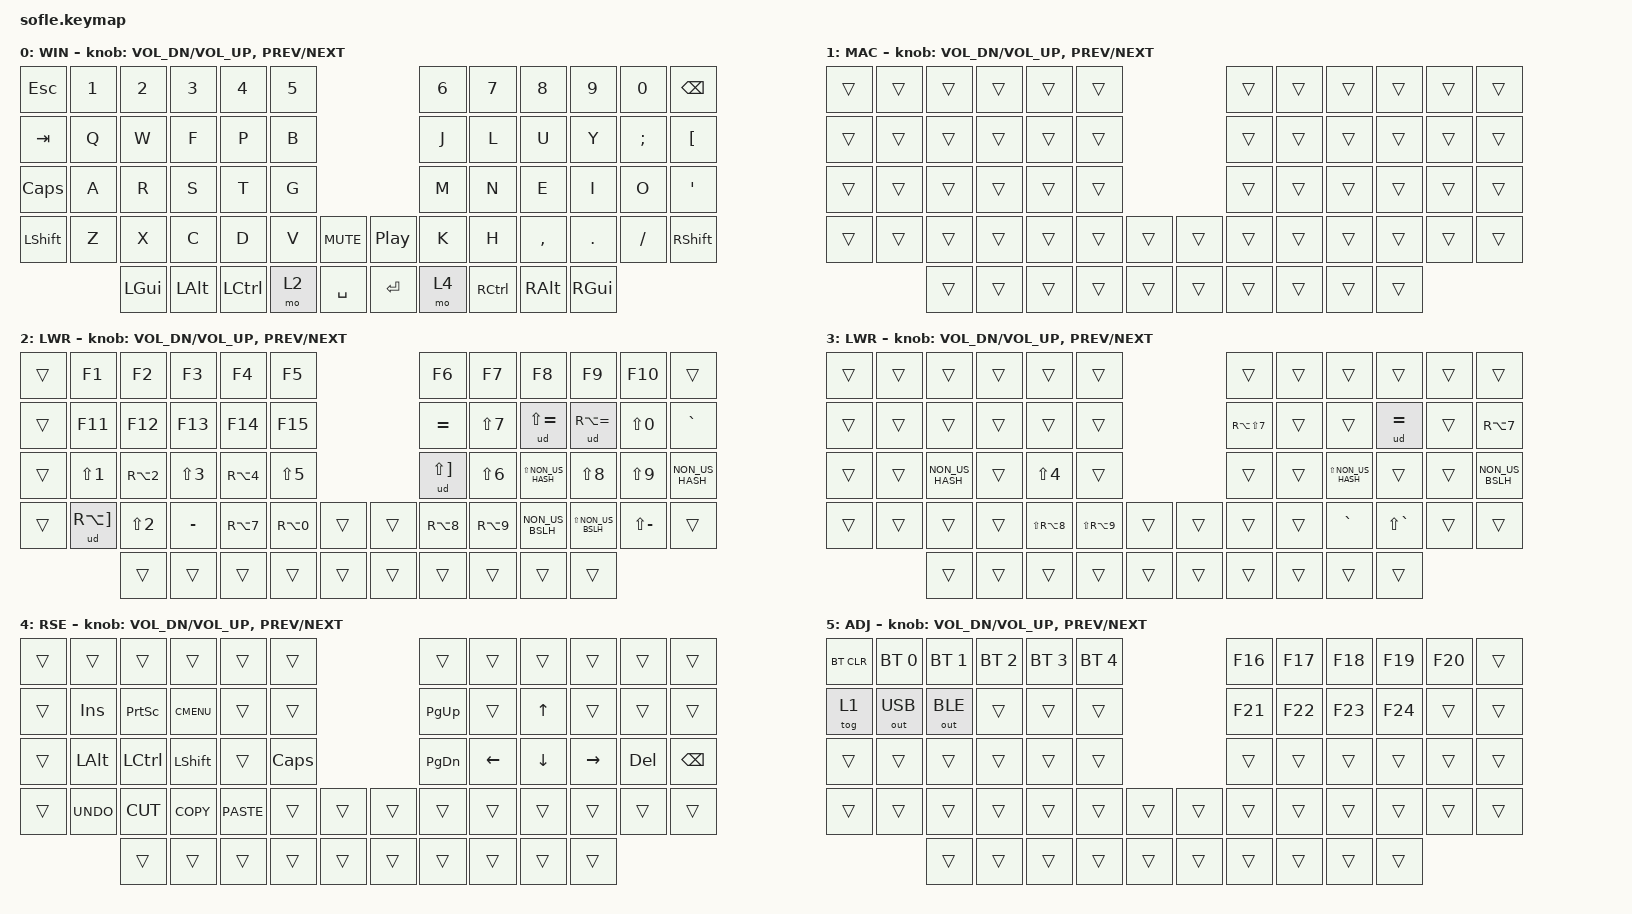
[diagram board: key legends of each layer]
/*
 * Copyright (c) 2020 The ZMK Contributors
 *
 * SPDX-License-Identifier: MIT
 */

#include <behaviors.dtsi>
#include <dt-bindings/zmk/keys.h>
#include <dt-bindings/zmk/bt.h>
#include <dt-bindings/zmk/outputs.h>

&left_encoder {
    steps = <80>;
};

&right_encoder {
    steps = <80>;
};

/ {
    macros {
        ud: ud {
            label = "UNDEAD_KEYS";
            compatible = "zmk,behavior-macro-one-param";
            #binding-cells = <1>;
            wait-ms = <30>;
            tap-ms = <40>;
            bindings =  <&macro_param_1to1>, <&macro_tap &kp MACRO_PLACEHOLDER &kp SPACE>;
        };
    };

    sensors {
        compatible = "zmk,keymap-sensors";
        sensors = <&left_encoder &right_encoder>;
        triggers-per-rotation = <20>;
    };

    conditional_layers {
        compatible = "zmk,conditional-layers";
        mac_enabled {
            if-layers = <1 2>;
            then-layer = <3>;
        };
        tri_layer {
            if-layers = <2 4>;
            then-layer = <5>;
        };
    };

    keymap {
        compatible = "zmk,keymap";

        default_layer {
            display-name = "WIN";

            bindings = <
&kp ESC   &kp N1 &kp N2   &kp N3   &kp N4    &kp N5                      &kp N6 &kp N7    &kp N8    &kp N9   &kp N0   &kp BSPC
&kp TAB   &kp Q  &kp W    &kp F    &kp P     &kp B                       &kp J  &kp L     &kp U     &kp Y    &kp SEMI &kp LBKT
&kp CAPS  &kp A  &kp R    &kp S    &kp T     &kp G                       &kp M  &kp N     &kp E     &kp I    &kp O    &kp SQT
&kp LSHFT &kp Z  &kp X    &kp C    &kp D     &kp V  &kp C_MUTE &kp C_PP  &kp K  &kp H     &kp COMMA &kp DOT  &kp FSLH &kp RSHFT
                 &kp LGUI &kp LALT &kp LCTRL &mo 2  &kp SPACE    &kp RET &mo 4  &kp RCTRL &kp RALT  &kp RGUI
            >;

            sensor-bindings = <&inc_dec_kp C_VOL_DN C_VOL_UP &inc_dec_kp C_PREV C_NEXT>;
        };

        mac_enabled {
            display-name = "MAC";

            bindings = <
&trans     &trans       &trans       &trans       &trans       &trans                   &trans    &trans    &trans   &trans    &trans  &trans
&trans     &trans       &trans       &trans       &trans       &trans                   &trans    &trans    &trans   &trans   &trans  &trans
&trans     &trans       &trans       &trans       &trans       &trans                   &trans    &trans    &trans   &trans    &trans  &trans
&trans     &trans       &trans       &trans       &trans       &trans  &trans   &trans  &trans    &trans    &trans   &trans    &trans  &trans
                        &trans       &trans       &trans       &trans  &trans   &trans  &trans    &trans    &trans   &trans
            >;

            sensor-bindings = <&inc_dec_kp C_VOL_DN C_VOL_UP &inc_dec_kp C_PREV C_NEXT>;
        };

        lower_layer {
            display-name = "LWR";

            bindings = <
&trans    &kp F1       &kp F2     &kp F3       &kp F4      &kp F5                    &kp F6       &kp F7     &kp F8              &kp F9              &kp F10       &trans
&trans    &kp F11      &kp F12    &kp F13      &kp F14     &kp F15                   &kp EQUAL    &kp LS(N7) &ud LS(EQUAL)       &ud RA(EQUAL)       &kp LS(N0)    &kp GRAVE
&trans    &kp LS(N1)   &kp RA(N2) &kp LS(N3)   &kp RA(N4)  &kp LS(N5)                &ud LS(RBKT) &kp LS(N6) &kp LS(NON_US_HASH) &kp LS(N8)          &kp LS(N9)    &kp NON_US_HASH
&trans    &ud RA(RBKT) &kp LS(N2) &kp MINUS    &kp RA(N7)  &kp RA(N0)  &trans &trans &kp RA(N8)   &kp RA(N9) &kp NON_US_BSLH     &kp LS(NON_US_BSLH) &kp LS(MINUS) &trans
                       &trans     &trans       &trans      &trans      &trans &trans &trans       &trans     &trans              &trans
            >;

            sensor-bindings = <&inc_dec_kp C_VOL_DN C_VOL_UP &inc_dec_kp C_PREV C_NEXT>;
        };

        lower_layer_mac {
            display-name = "LWR";

            bindings = <
&trans     &trans       &trans          &trans       &trans         &trans                          &trans         &trans     &trans              &trans        &trans  &trans
&trans     &trans       &trans          &trans       &trans         &trans                          &kp RA(LS(N7)) &trans     &trans              &ud EQUAL     &trans  &kp RA(N7)
&trans     &trans       &kp NON_US_HASH &trans       &kp LS(N4)     &trans                          &trans         &trans     &kp LS(NON_US_HASH) &trans        &trans  &kp NON_US_BSLH
&trans     &trans       &trans          &trans       &kp LS(RA(N8)) &kp LS(RA(N9)) &trans   &trans  &trans         &trans     &kp GRAVE           &kp LS(GRAVE) &trans  &trans
                        &trans          &trans       &trans         &trans         &trans   &trans  &trans         &trans     &trans              &trans
            >;

            sensor-bindings = <&inc_dec_kp C_VOL_DN C_VOL_UP &inc_dec_kp C_PREV C_NEXT>;
        };

        raise_layer {
            display-name = "RSE";

            bindings = <
&trans     &trans      &trans     &trans       &trans       &trans                   &trans    &trans    &trans   &trans    &trans  &trans
&trans     &kp INS     &kp PSCRN  &kp K_CMENU  &trans       &trans                   &kp PG_UP &trans    &kp UP   &trans    &trans  &trans
&trans     &kp LALT    &kp LCTRL  &kp LSHFT    &trans       &kp CLCK                 &kp PG_DN &kp LEFT  &kp DOWN &kp RIGHT &kp DEL &kp BSPC
&trans     &kp K_UNDO  &kp K_CUT  &kp K_COPY   &kp K_PASTE  &trans  &trans   &trans  &trans    &trans    &trans   &trans    &trans  &trans
                       &trans     &trans       &trans       &trans  &trans   &trans  &trans    &trans    &trans   &trans
            >;

            sensor-bindings = <&inc_dec_kp C_VOL_DN C_VOL_UP &inc_dec_kp C_PREV C_NEXT>;
        };

        adjust_layer {
            display-name = "ADJ";
            
            bindings = <
&bt BT_CLR &bt BT_SEL 0 &bt BT_SEL 1 &bt BT_SEL 2 &bt BT_SEL 3 &bt BT_SEL 4             &kp F16   &kp F17   &kp F18  &kp F19   &kp F20 &trans
&tog 1     &out OUT_USB &out OUT_BLE &trans       &trans       &trans                   &kp F21   &kp F22   &kp F23  &kp F24   &trans  &trans
&trans     &trans       &trans       &trans       &trans       &trans                   &trans    &trans    &trans   &trans    &trans  &trans
&trans     &trans       &trans       &trans       &trans       &trans  &trans   &trans  &trans    &trans    &trans   &trans    &trans  &trans
                        &trans       &trans       &trans       &trans  &trans   &trans  &trans    &trans    &trans   &trans
            >;

            sensor-bindings = <&inc_dec_kp C_VOL_DN C_VOL_UP &inc_dec_kp C_PREV C_NEXT>;
        };
    };
};
